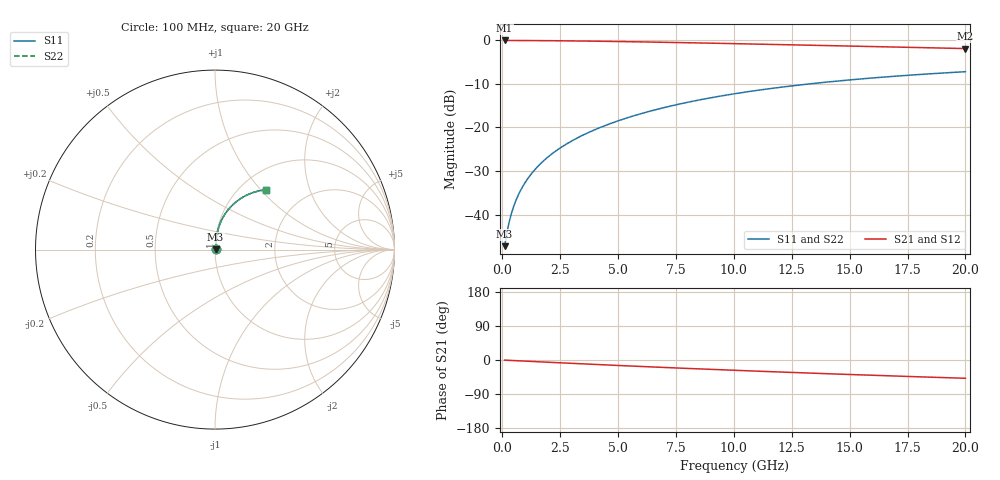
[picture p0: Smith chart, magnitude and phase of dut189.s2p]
! Touchstone file exported from HFSS 2024.1.0
!  File:  C:/UserFiles/LocalFiles/RDL_TSV_Batchsim/temp_RDL_top_189_1778686546.aedt
!  Generated:  11:38:10 PM May 13, 2026
!  Design:  RDL_top
!  Project:  temp_RDL_top_189_1778686546
!  Setup:  Setup1
!  Solution:  Sweep
! Variables:
!  dtsv = 10.80580581um
!  hbump = 3um
!  htsv = 62.81um
!  ldown = 100um
!  lrdl = 668.6um
!  p = 40
!  p1 = 55.94um
!  rhole = 1um
!  t = 450um
!  tdown = 3.915915916um
!  trdl = 3.2um
!  wdown = 15.38538539um
!  wrdl = 22.21um
# GHz S MA R 50.000000
! Terminal data exported
! Port[1] = Box2_T1
! Port[2] = Box2_T2
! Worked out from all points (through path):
!   200 points, 100 MHz to 20 GHz, reference 50 ohm
!   highest |S21| = -0.03 dB at 100 MHz (marker M1); lowest = -1.9 dB at 20 GHz (marker M2)
!   group delay of S21, straight-line fit = 6.65 ps
!   lowest |S11| = -47.3 dB at 100 MHz (marker M3), VSWR 1.01, Z = 50.4 + j0.253 ohm
!   |S11| at or under -10 dB: start of sweep to 13.27 GHz
!   |S22| runs from -47.3 to -7.2 dB; largest |S21 - S12| = 1.1e-14
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0.1  0.004338 35.3  0.9965 -0.3  0.9965 -0.3  0.004338 35.3
! Gamma 0 0 0 0
! Port Impedance 50 0 50 0
0.2  0.006176 53.3  0.9963 -0.6  0.9963 -0.6  0.006176 53.3
0.3  0.008272 62.1  0.996 -0.9  0.996 -0.9  0.008272 62.1
0.4  0.01042 67.2  0.9958 -1.2  0.9958 -1.2  0.01042 67.2
0.5  0.01259 70.5  0.9956 -1.5  0.9956 -1.5  0.01259 70.5
0.6  0.01477 73.0  0.9954 -1.8  0.9954 -1.8  0.01477 73.0
0.8  0.01916 76.2  0.9949 -2.4  0.9949 -2.4  0.01916 76.2
1.1  0.02585 79.1  0.9941 -3.3  0.9941 -3.3  0.02585 79.1
1.3  0.03036 80.3  0.9935 -3.9  0.9935 -3.9  0.03036 80.3
1.6  0.03719 81.5  0.9924 -4.8  0.9924 -4.8  0.03719 81.5
2.1  0.04875 82.5  0.9902 -6.3  0.9902 -6.3  0.04875 82.5
2.7  0.06286 82.9  0.9869 -8.0  0.9869 -8.0  0.06286 82.9
3.5  0.08207 82.6  0.9815 -10.3  0.9815 -10.3  0.08207 82.6
4.2  0.0992 82.0  0.9761 -12.3  0.9761 -12.3  0.0992 82.0
5  0.1191 81.0  0.9691 -14.4  0.9691 -14.4  0.1191 81.0
5.9  0.1417 79.5  0.9605 -16.9  0.9605 -16.9  0.1417 79.5
6.8  0.1643 77.8  0.9514 -19.2  0.9514 -19.2  0.1643 77.8
8.4  0.2042 74.4  0.9342 -23.2  0.9342 -23.2  0.2042 74.4
10.1  0.2453 70.7  0.9152 -27.3  0.9152 -27.3  0.2453 70.7
13.4  0.319 63.3  0.8775 -34.8  0.8775 -34.8  0.319 63.2
16.7  0.3828 56.2  0.8401 -41.8  0.8401 -41.8  0.3827 56.2
20  0.4364 49.7  0.8042 -48.2  0.8042 -48.2  0.4363 49.7
